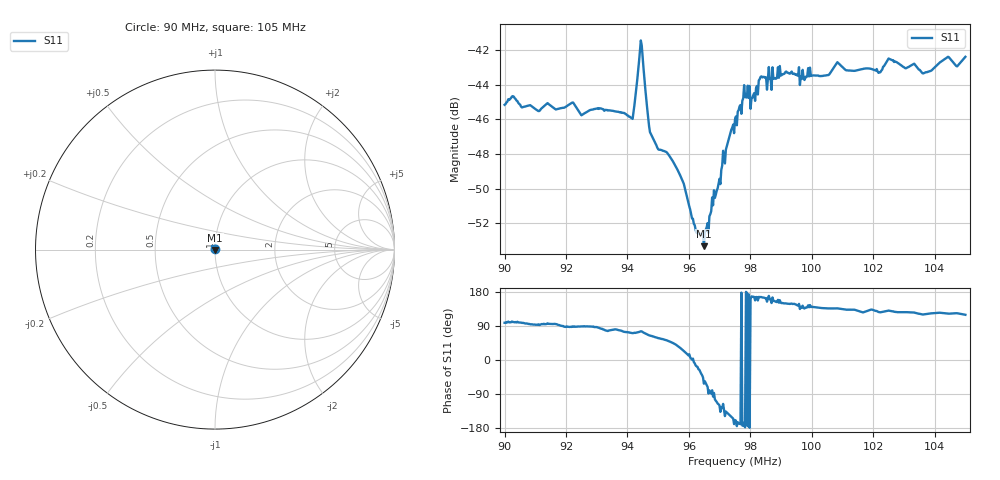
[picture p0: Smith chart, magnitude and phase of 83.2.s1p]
# HZ S RI R 50
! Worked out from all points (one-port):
!   505 points, 90 MHz to 105 MHz, reference 50 ohm
!   lowest |S11| = -53.3 dB at 96.49 MHz (marker M1), VSWR 1.00, Z = 50.1 - j0.192 ohm
!   |S11| at or under -10 dB: start of sweep to end of sweep
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9e7  -0.000788 0.00546
9.026786e7  -0.00104 0.00575
9.107143e7  -0.000268 0.0053
9.187501e7  3.98e-05 0.0054
9.375001e7  0.00109 0.00513
9.416668e7  0.00164 0.00475
9.443454e7  0.00206 0.00821
9.449406e7  0.00212 0.00725
9.467263e7  0.00204 0.00464
9.476192e7  0.00201 0.00408
9.562502e7  0.00284 0.00219
9.622026e7  0.00232 -0.000601
9.648812e7  0.000995 -0.00192
9.696431e7  -0.00148 -0.00291
9.732145e7  -0.0037 -0.00252
9.750002e7  -0.00466 -0.00183
9.779764e7  -0.00608 -0.00159
9.80655e7  -0.00563 0.00129
9.833336e7  -0.00645 0.0016
9.937503e7  -0.00574 0.00361
1.004762e8  -0.00486 0.00464
1.008334e8  -0.00529 0.00506
1.0125e8  -0.0047 0.00509
1.022024e8  -0.00405 0.00552
1.025298e8  -0.0048 0.00574
1.03125e8  -0.00417 0.00573
1.036608e8  -0.00347 0.00587
1.05e8  -0.00371 0.00662
